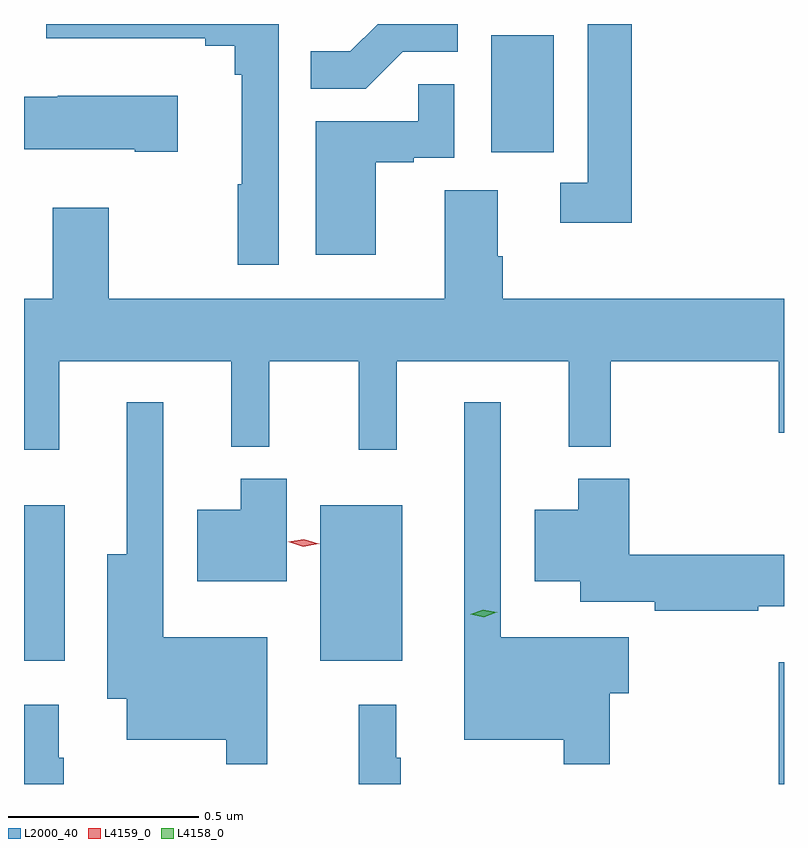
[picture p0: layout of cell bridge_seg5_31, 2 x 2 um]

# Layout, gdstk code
import gdstk
lib = gdstk.Library(unit=1e-6, precision=1e-09)
def R(c, l, rs):  # rectangles x0, y0, x1, y1
    for r in rs: c.add(gdstk.rectangle(r[:2], r[2:], *l))
def P(c, l, *ps):  # polygons
    for p in ps: c.add(gdstk.Polygon(p, *l))
L2000_40 = (2000, 40)
L4158_0 = (4158, 0)
L4159_0 = (4159, 0)

bridge_seg5_31 = lib.new_cell('bridge_seg5_31')
R(bridge_seg5_31, L2000_40, [(1052.12,906.263,1052.134,906.583), (1050.134,906.587,1050.241,906.997), (1050.914,906.587,1051.129,906.997), (1051.364,907.926,1051.528,908.233)])
P(bridge_seg5_31, L2000_40, [(1050.804,908.263),(1050.192,908.263),(1050.192,908.225),(1050.611,908.225),(1050.611,908.206),(1050.688,908.206),(1050.688,908.129),(1050.707,908.129),(1050.707,907.841),(1050.696,907.841),(1050.696,907.629),(1050.804,907.629)],
  [(1051.733,908.263),(1051.617,908.263),(1051.617,907.845),(1051.545,907.845),(1051.545,907.74),(1051.733,907.74)],
  [(1051.131,908.19),(1051.275,908.19),(1051.275,908.263),(1051.065,908.263),(1050.993,908.191),(1050.889,908.191),(1050.889,908.092),(1051.033,908.092)],
  [(1051.06,907.899),(1051.16,907.899),(1051.16,907.911),(1051.266,907.911),(1051.266,908.105),(1051.171,908.105),(1051.171,908.007),(1050.902,908.007),(1050.902,907.656),(1051.06,907.656)],
  [(1050.538,908.074),(1050.223,908.074),(1050.223,908.071),(1050.134,908.071),(1050.134,907.934),(1050.425,907.934),(1050.425,907.927),(1050.538,907.927)],
  [(1050.227,907.376),(1050.68,907.376),(1050.68,907.151),(1050.78,907.151),(1050.78,907.376),(1051.015,907.376),(1051.015,907.143),(1051.115,907.143),(1051.115,907.376),(1051.568,907.376),(1051.568,907.151),(1051.678,907.151),(1051.678,907.376),(1052.12,907.376),(1052.12,907.188),(1052.134,907.188),(1052.134,907.54),(1051.394,907.54),(1051.394,907.652),(1051.381,907.652),(1051.381,907.826),(1051.241,907.826),(1051.241,907.54),(1050.357,907.54),(1050.357,907.78),(1050.209,907.78),(1050.209,907.54),(1050.134,907.54),(1050.134,907.143),(1050.227,907.143)],
  [(1051.675,906.502),(1051.726,906.502),(1051.726,906.649),(1051.389,906.649),(1051.389,907.267),(1051.292,907.267),(1051.292,906.38),(1051.554,906.38),(1051.554,906.315),(1051.675,906.315)],
  [(1050.774,906.649),(1050.501,906.649),(1050.501,907.267),(1050.404,907.267),(1050.404,906.868),(1050.353,906.868),(1050.353,906.488),(1050.404,906.488),(1050.404,906.38),(1050.666,906.38),(1050.666,906.315),(1050.774,906.315)],
  [(1052.066,906.731),(1052.134,906.731),(1052.134,906.866),(1051.727,906.866),(1051.727,907.066),(1051.592,907.066),(1051.592,906.985),(1051.478,906.985),(1051.478,906.797),(1051.598,906.797),(1051.598,906.743),(1051.794,906.743),(1051.794,906.719),(1052.066,906.719)],
  [(1050.826,907.066),(1050.704,907.066),(1050.704,906.985),(1050.59,906.985),(1050.59,906.797),(1050.826,906.797)],
  [(1050.238,906.332),(1050.225,906.332),(1050.225,906.472),(1050.134,906.472),(1050.134,906.263),(1050.238,906.263)],
  [(1051.126,906.332),(1051.114,906.332),(1051.114,906.472),(1051.015,906.472),(1051.015,906.263),(1051.126,906.263)])
P(bridge_seg5_31, L4158_0, [(1051.344,906.702),(1051.308,906.71),(1051.308,906.71),(1051.308,906.71),(1051.342,906.722),(1051.378,906.715),(1051.379,906.715),(1051.378,906.715)])
P(bridge_seg5_31, L4159_0, [(1050.869,906.888),(1050.829,906.9),(1050.829,906.9),(1050.829,906.9),(1050.87,906.907),(1050.91,906.895),(1050.911,906.895),(1050.91,906.895)])

lib.write_gds('bridge_seg5_31.gds')
